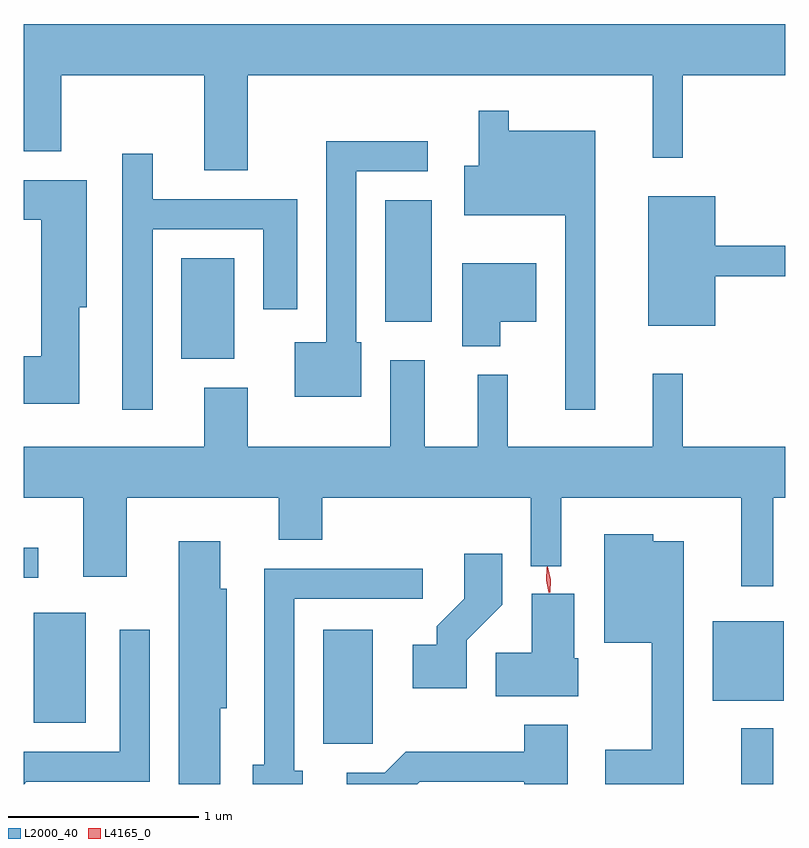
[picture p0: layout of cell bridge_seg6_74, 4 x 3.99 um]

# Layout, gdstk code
import gdstk
lib = gdstk.Library(unit=1e-6, precision=1e-09)
def R(c, l, rs):  # rectangles x0, y0, x1, y1
    for r in rs: c.add(gdstk.rectangle(r[:2], r[2:], *l))
def P(c, l, *ps):  # polygons
    for p in ps: c.add(gdstk.Polygon(p, *l))
L2000_40 = (2000, 40)
L4165_0 = (4165, 0)

bridge_seg6_74 = lib.new_cell('bridge_seg6_74')
R(bridge_seg6_74, L2000_40, [(1359.681,1648.434,1359.849,1648.728), (1357.486,1648.646,1357.744,1649.244), (1355.966,1648.756,1356.239,1649.334), (1359.531,1648.871,1359.904,1649.289), (1355.912,1649.516,1355.988,1649.674), (1356.741,1650.666,1357.019,1651.194), (1357.811,1650.861,1358.054,1651.499)])
P(bridge_seg6_74, L2000_40, [(1357.089,1652.156),(1359.216,1652.156),(1359.216,1651.723),(1359.374,1651.723),(1359.374,1652.156),(1359.912,1652.156),(1359.912,1652.424),(1355.912,1652.424),(1355.912,1651.756),(1356.109,1651.756),(1356.109,1652.156),(1356.861,1652.156),(1356.861,1651.656),(1357.089,1651.656)],
  [(1358.914,1651.864),(1358.459,1651.864),(1358.459,1651.968),(1358.301,1651.968),(1358.301,1651.679),(1358.226,1651.679),(1358.226,1651.421),(1358.756,1651.421),(1358.756,1650.398),(1358.914,1650.398)],
  [(1357.684,1650.754),(1357.659,1650.754),(1357.659,1651.651),(1358.033,1651.651),(1358.033,1651.809),(1357.501,1651.809),(1357.501,1650.754),(1357.336,1650.754),(1357.336,1650.466),(1357.684,1650.466)],
  [(1356.589,1651.346),(1357.171,1651.346),(1357.171,1650.926),(1357.349,1650.926),(1357.349,1651.504),(1356.589,1651.504),(1356.589,1651.743),(1356.431,1651.743),(1356.431,1650.398),(1356.589,1650.398)],
  [(1356.204,1650.936),(1356.244,1650.936),(1356.244,1651.604),(1355.912,1651.604),(1355.912,1651.396),(1356.006,1651.396),(1356.006,1650.679),(1355.912,1650.679),(1355.912,1650.431),(1356.204,1650.431)],
  [(1359.544,1651.101),(1359.912,1651.101),(1359.912,1651.259),(1359.544,1651.259),(1359.544,1651.519),(1359.191,1651.519),(1359.191,1650.841),(1359.544,1650.841)],
  [(1358.414,1650.861),(1358.604,1650.861),(1358.604,1651.169),(1358.216,1651.169),(1358.216,1650.731),(1358.414,1650.731)],
  [(1359.849,1649.936),(1359.912,1649.936),(1359.912,1650.204),(1359.374,1650.204),(1359.374,1650.588),(1359.216,1650.588),(1359.216,1650.204),(1358.454,1650.204),(1358.454,1650.583),(1358.296,1650.583),(1358.296,1650.204),(1358.019,1650.204),(1358.019,1650.659),(1357.836,1650.659),(1357.836,1650.204),(1357.089,1650.204),(1357.089,1650.514),(1356.861,1650.514),(1356.861,1650.204),(1355.912,1650.204),(1355.912,1649.936),(1356.226,1649.936),(1356.226,1649.521),(1356.454,1649.521),(1356.454,1649.936),(1357.251,1649.936),(1357.251,1649.716),(1357.479,1649.716),(1357.479,1649.936),(1358.576,1649.936),(1358.576,1649.578),(1358.734,1649.578),(1358.734,1649.936),(1359.681,1649.936),(1359.681,1649.473),(1359.849,1649.473)],
  [(1359.379,1649.709),(1359.219,1649.709),(1359.219,1649.744),(1358.961,1649.744),(1358.961,1649.176),(1359.211,1649.176),(1359.211,1648.614),(1358.966,1648.614),(1358.966,1648.434),(1359.379,1648.434)],
  [(1356.944,1648.831),(1356.979,1648.831),(1356.979,1649.459),(1356.944,1649.459),(1356.944,1649.709),(1356.726,1649.709),(1356.726,1648.434),(1356.944,1648.434)],
  [(1358.239,1649.189),(1358.424,1649.374),(1358.424,1649.644),(1358.226,1649.644),(1358.226,1649.407),(1358.081,1649.262),(1358.081,1649.164),(1357.956,1649.164),(1357.956,1648.936),(1358.239,1648.936)],
  [(1357.379,1648.504),(1357.334,1648.504),(1357.334,1649.406),(1358.008,1649.406),(1358.008,1649.564),(1357.176,1649.564),(1357.176,1648.534),(1357.116,1648.534),(1357.116,1648.434),(1357.379,1648.434)],
  [(1358.824,1649.094),(1358.804,1649.094),(1358.804,1649.434),(1358.581,1649.434),(1358.581,1649.124),(1358.391,1649.124),(1358.391,1648.896),(1358.824,1648.896)],
  [(1355.927,1648.446),(1356.574,1648.446),(1356.574,1649.243),(1356.416,1649.243),(1356.416,1648.604),(1355.912,1648.604),(1355.912,1648.434),(1355.915,1648.434)],
  [(1357.992,1648.446),(1358.541,1648.446),(1358.541,1648.434),(1358.769,1648.434),(1358.769,1648.744),(1358.541,1648.744),(1358.541,1648.604),(1357.919,1648.604),(1357.809,1648.494),(1357.608,1648.494),(1357.608,1648.434),(1357.98,1648.434)])
P(bridge_seg6_74, L4165_0, [(1358.677,1649.437),(1358.66,1649.505),(1358.662,1649.575),(1358.663,1649.575),(1358.663,1649.575),(1358.68,1649.507),(1358.678,1649.437),(1358.678,1649.437)],
  [(1358.67,1649.439),(1358.67,1649.439),(1358.656,1649.505),(1358.66,1649.571),(1358.661,1649.572),(1358.661,1649.571),(1358.676,1649.506),(1358.671,1649.439)])

lib.write_gds('bridge_seg6_74.gds')
